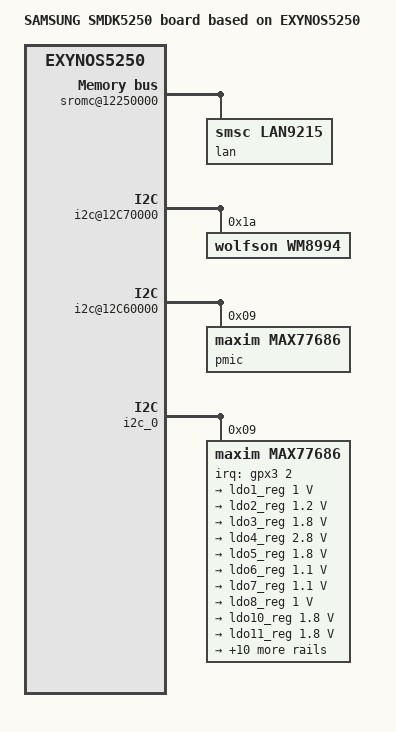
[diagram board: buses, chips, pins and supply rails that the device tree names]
/*
 * SAMSUNG SMDK5250 board device tree source
 *
 * Copyright (c) 2012 Samsung Electronics Co., Ltd.
 *		http://www.samsung.com
 *
 * This program is free software; you can redistribute it and/or modify
 * it under the terms of the GNU General Public License version 2 as
 * published by the Free Software Foundation.
*/

/dts-v1/;
#include "exynos5250.dtsi"
#include <dt-bindings/interrupt-controller/irq.h>

/ {
	model = "SAMSUNG SMDK5250 board based on EXYNOS5250";
	compatible = "samsung,smdk5250", "samsung,exynos5250";

	aliases {
		i2c0 = "/i2c@12C60000";
		i2c1 = "/i2c@12C70000";
		i2c2 = "/i2c@12C80000";
		i2c3 = "/i2c@12C90000";
		i2c4 = "/i2c@12CA0000";
		i2c5 = "/i2c@12CB0000";
		i2c6 = "/i2c@12CC0000";
		i2c7 = "/i2c@12CD0000";
		spi0 = "/spi@12d20000";
		spi1 = "/spi@12d30000";
		spi2 = "/spi@12d40000";
		spi3 = "/spi@131a0000";
		spi4 = "/spi@131b0000";
		mmc0 = "/mmc@12200000";
		mmc1 = "/mmc@12210000";
		mmc2 = "/mmc@12220000";
		mmc3 = "/mmc@12230000";
		serial0 = "/serial@12C30000";
		console = "/serial@12C30000";
		i2s = "/sound@3830000";
	};

	sromc@12250000 {
		compatible = "samsung,exynos5-sromc";
		bank = <1>;
		srom-timing = <1 9 12 1 6 1 1>;
		width = <2>;
		lan@5000000 {
			compatible = "smsc,lan9215", "smsc,lan";
			reg = <0x5000000 0x100>;
			phy-mode = "mii";
		};
	};

	sound@3830000 {
		samsung,codec-type = "wm8994";
	};

	sound@12d60000 {
		status = "disabled";
	};

	i2c@12C70000 {
		wm8994: soundcodec@1a {
			reg = <0x1a>;
			u-boot,i2c-offset-len = <2>;
			compatible = "wolfson,wm8994";
			#sound-dai-cells = <1>;
		};
	};

	sound {
		compatible = "google,smdk5250-audio-wm8994";

		samsung,model = "SMDK5250-I2S-WM8994";
		samsung,audio-codec = <&wm8994>;

		cpu {
			sound-dai = <&i2s0 0>;
		};

		codec {
			sound-dai = <&wm8994 0>;
		};
	};

	i2c@12C60000 {
		pmic@9 {
			reg = <0x9>;
			compatible = "maxim,max77686";
		};
	};

	tmu@10060000 {
		samsung,min-temp	= <25>;
		samsung,max-temp	= <125>;
		samsung,start-warning	= <95>;
		samsung,start-tripping	= <105>;
		samsung,hw-tripping	= <110>;
		samsung,efuse-min-value	= <40>;
		samsung,efuse-value	= <55>;
		samsung,efuse-max-value	= <100>;
		samsung,slope		= <274761730>;
		samsung,dc-value	= <25>;
	};

	fimd@14400000 {
		samsung,vl-freq = <60>;
		samsung,vl-col = <2560>;
		samsung,vl-row = <1600>;
		samsung,vl-width = <2560>;
		samsung,vl-height = <1600>;

		samsung,vl-clkp;
		samsung,vl-dp;
		samsung,vl-bpix = <4>;

		samsung,vl-hspw = <32>;
		samsung,vl-hbpd = <80>;
		samsung,vl-hfpd = <48>;
		samsung,vl-vspw = <6>;
		samsung,vl-vbpd = <37>;
		samsung,vl-vfpd = <3>;
		samsung,vl-cmd-allow-len = <0xf>;

		samsung,winid = <3>;
		samsung,interface-mode = <1>;
		samsung,dp-enabled = <1>;
		samsung,dual-lcd-enabled = <0>;
	};

	dp@145b0000 {
		samsung,lt-status = <0>;

		samsung,master-mode = <0>;
		samsung,bist-mode = <0>;
		samsung,bist-pattern = <0>;
		samsung,h-sync-polarity = <0>;
		samsung,v-sync-polarity = <0>;
		samsung,interlaced = <0>;
		samsung,color-space = <0>;
		samsung,dynamic-range = <0>;
		samsung,ycbcr-coeff = <0>;
		samsung,color-depth = <1>;
	};

	mmc@12200000 {
		samsung,bus-width = <8>;
		samsung,timing = <1 3 3>;
		samsung,removable = <0>;
	};

	mmc@12210000 {
		status = "disabled";
	};

	mmc@12220000 {
		samsung,bus-width = <4>;
		samsung,timing = <1 2 3>;
		samsung,removable = <1>;
	};

	mmc@12230000 {
		status = "disabled";
	};

	ehci@12110000 {
		samsung,vbus-gpio = <&gpx2 6 GPIO_ACTIVE_HIGH>;
	};
};

&i2c_0 {
	status = "okay";
	samsung,i2c-sda-delay = <100>;
	samsung,i2c-max-bus-freq = <20000>;

	max77686@09 {
		compatible = "maxim,max77686";
		reg = <0x09>;
		interrupt-parent = <&gpx3>;
		interrupts = <2 IRQ_TYPE_NONE>;

		voltage-regulators {
			ldo1_reg: LDO1 {
				regulator-name = "P1.0V_LDO_OUT1";
				regulator-min-microvolt = <1000000>;
				regulator-max-microvolt = <1000000>;
				regulator-always-on;
			};

			ldo2_reg: LDO2 {
				regulator-name = "P1.2V_LDO_OUT2";
				regulator-min-microvolt = <1200000>;
				regulator-max-microvolt = <1200000>;
				regulator-always-on;
			};

			ldo3_reg: LDO3 {
				regulator-name = "P1.8V_LDO_OUT3";
				regulator-min-microvolt = <1800000>;
				regulator-max-microvolt = <1800000>;
				regulator-always-on;
			};

			ldo4_reg: LDO4 {
				regulator-name = "P2.8V_LDO_OUT4";
				regulator-min-microvolt = <2800000>;
				regulator-max-microvolt = <2800000>;
			};

			ldo5_reg: LDO5 {
				regulator-name = "P1.8V_LDO_OUT5";
				regulator-min-microvolt = <1800000>;
				regulator-max-microvolt = <1800000>;
			};

			ldo6_reg: LDO6 {
				regulator-name = "P1.1V_LDO_OUT6";
				regulator-min-microvolt = <1100000>;
				regulator-max-microvolt = <1100000>;
				regulator-always-on;
			};

			ldo7_reg: LDO7 {
				regulator-name = "P1.1V_LDO_OUT7";
				regulator-min-microvolt = <1100000>;
				regulator-max-microvolt = <1100000>;
				regulator-always-on;
			};

			ldo8_reg: LDO8 {
				regulator-name = "P1.0V_LDO_OUT8";
				regulator-min-microvolt = <1000000>;
				regulator-max-microvolt = <1000000>;
			};

			ldo10_reg: LDO10 {
				regulator-name = "P1.8V_LDO_OUT10";
				regulator-min-microvolt = <1800000>;
				regulator-max-microvolt = <1800000>;
			};

			ldo11_reg: LDO11 {
				regulator-name = "P1.8V_LDO_OUT11";
				regulator-min-microvolt = <1800000>;
				regulator-max-microvolt = <1800000>;
			};

			ldo12_reg: LDO12 {
				regulator-name = "P3.0V_LDO_OUT12";
				regulator-min-microvolt = <3000000>;
				regulator-max-microvolt = <3000000>;
			};

			ldo13_reg: LDO13 {
				regulator-name = "P1.8V_LDO_OUT13";
				regulator-min-microvolt = <1800000>;
				regulator-max-microvolt = <1800000>;
			};

			ldo14_reg: LDO14 {
				regulator-name = "P1.8V_LDO_OUT14";
				regulator-min-microvolt = <1800000>;
				regulator-max-microvolt = <1800000>;
			};

			ldo15_reg: LDO15 {
				regulator-name = "P1.0V_LDO_OUT15";
				regulator-min-microvolt = <1000000>;
				regulator-max-microvolt = <1000000>;
			};

			ldo16_reg: LDO16 {
				regulator-name = "P1.8V_LDO_OUT16";
				regulator-min-microvolt = <1800000>;
				regulator-max-microvolt = <1800000>;
			};

			buck1_reg: BUCK1 {
				regulator-name = "vdd_mif";
				regulator-min-microvolt = <950000>;
				regulator-max-microvolt = <1300000>;
				regulator-always-on;
				regulator-boot-on;
			};

			buck2_reg: BUCK2 {
				regulator-name = "vdd_arm";
				regulator-min-microvolt = <850000>;
				regulator-max-microvolt = <1350000>;
				regulator-always-on;
				regulator-boot-on;
			};

			buck3_reg: BUCK3 {
				regulator-name = "vdd_int";
				regulator-min-microvolt = <900000>;
				regulator-max-microvolt = <1200000>;
				regulator-always-on;
				regulator-boot-on;
			};

			buck4_reg: BUCK4 {
				regulator-name = "vdd_g3d";
				regulator-min-microvolt = <850000>;
				regulator-max-microvolt = <1300000>;
				regulator-always-on;
				regulator-boot-on;
			};

			buck5_reg: BUCK5 {
				regulator-name = "P1.8V_BUCK_OUT5";
				regulator-min-microvolt = <1800000>;
				regulator-max-microvolt = <1800000>;
				regulator-always-on;
				regulator-boot-on;
			};
		};
	};
};
